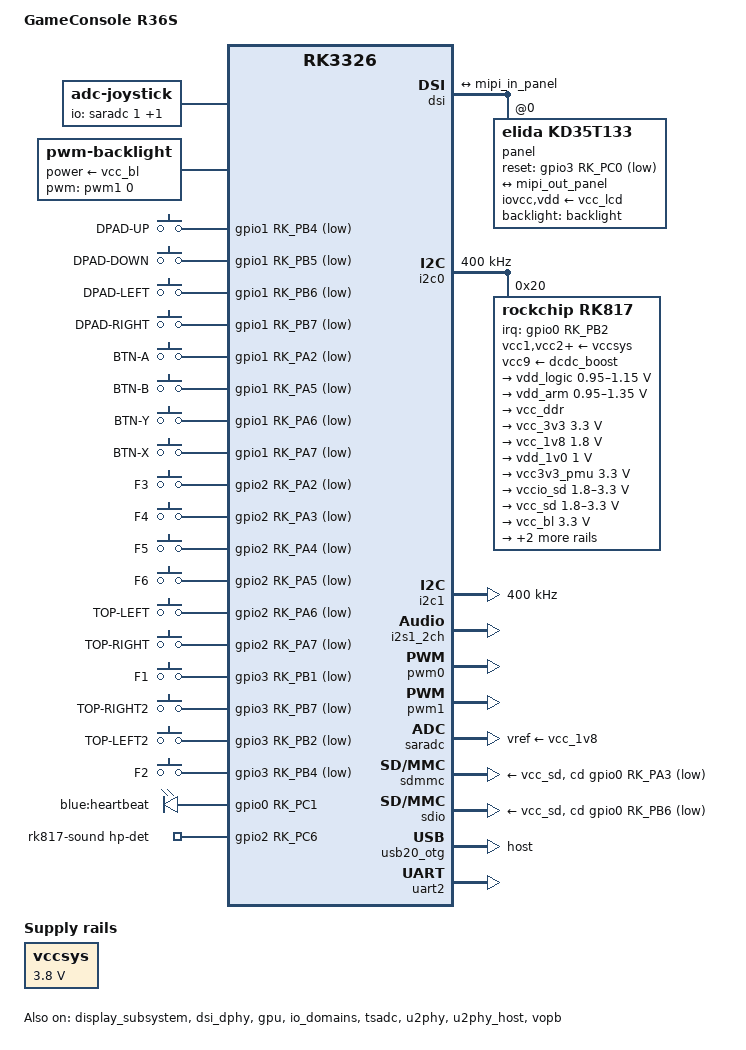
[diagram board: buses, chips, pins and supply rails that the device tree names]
// SPDX-License-Identifier: (GPL-2.0+ OR MIT)
/*
 * Copyright (c) 2019 Hardkernel Co., Ltd
 * Copyright (c) 2020 Theobroma Systems Design und Consulting GmbH
 * Copyright (c) 2024 Ion Agorria
 *
 * R36S is a clone of RG351MP which is based on odroid-goa
 */

/dts-v1/;
#include <dt-bindings/gpio/gpio.h>
#include <dt-bindings/input/input.h>
#include <dt-bindings/pinctrl/rockchip.h>
#include "rk3326.dtsi"

/ {
	model = "GameConsole R36S";
	compatible = "rk3326-gameconsole-r36s", "rockchip,rk3326";

	aliases {
		mmc0 = &sdmmc;
		mmc1 = &sdio;
	};

	chosen {
		stdout-path = "serial2:115200n8";
	};

	adc-joystick {
		compatible = "adc-joystick";
		io-channels = <&saradc 1>,
			      <&saradc 2>;
		#address-cells = <1>;
		#size-cells = <0>;

		axis@0 {
			reg = <0>;
			abs-flat = <10>;
			abs-fuzz = <10>;
			abs-range = <172 772>;
			linux,code = <ABS_X>;
		};

		axis@1 {
			reg = <1>;
			abs-flat = <10>;
			abs-fuzz = <10>;
			abs-range = <278 815>;
			linux,code = <ABS_Y>;
		};
	};

	backlight: backlight {
		compatible = "pwm-backlight";
		power-supply = <&vcc_bl>;
		pwms = <&pwm1 0 25000 0>;
	};

	gpio-keys {
		compatible = "gpio-keys";
		pinctrl-names = "default";
		pinctrl-0 = <&btn_pins>;

		sw1 {
			gpios = <&gpio1 RK_PB4 GPIO_ACTIVE_LOW>;
			label = "DPAD-UP";
			linux,code = <BTN_DPAD_UP>; // 0x220
		};
		sw2 {
			gpios = <&gpio1 RK_PB5 GPIO_ACTIVE_LOW>;
			label = "DPAD-DOWN";
			linux,code = <BTN_DPAD_DOWN>; // 0x221
		};
		sw3 {
			gpios = <&gpio1 RK_PB6 GPIO_ACTIVE_LOW>;
			label = "DPAD-LEFT";
			linux,code = <BTN_DPAD_LEFT>; // 0x222
		};
		sw4 {
			gpios = <&gpio1 RK_PB7 GPIO_ACTIVE_LOW>;
			label = "DPAD-RIGHT";
			linux,code = <BTN_DPAD_RIGHT>; // 0x223
		};
		sw5 {
			gpios = <&gpio1 RK_PA2 GPIO_ACTIVE_LOW>;
			label = "BTN-A";
			linux,code = <BTN_EAST>; // 0x131
		};
		sw6 {
			gpios = <&gpio1 RK_PA5 GPIO_ACTIVE_LOW>;
			label = "BTN-B";
			linux,code = <BTN_SOUTH>; // 0x130
		};
		sw7 {
			gpios = <&gpio1 RK_PA6 GPIO_ACTIVE_LOW>;
			label = "BTN-Y";
			linux,code = <BTN_WEST>; // 0x134
		};
		sw8 {
			gpios = <&gpio1 RK_PA7 GPIO_ACTIVE_LOW>;
			label = "BTN-X";
			linux,code = <BTN_NORTH>; // 0x133
		};
		sw11 {
			gpios = <&gpio2 RK_PA2 GPIO_ACTIVE_LOW>;
			label = "F3";
			linux,code = <BTN_TRIGGER_HAPPY3>; // 0x2c2
		};
		sw12 {
			gpios = <&gpio2 RK_PA3 GPIO_ACTIVE_LOW>;
			label = "F4";
			linux,code = <BTN_TRIGGER_HAPPY4>; // 0x2c3
		};
		sw13 {
			gpios = <&gpio2 RK_PA4 GPIO_ACTIVE_LOW>;
			label = "F5";
			linux,code = <BTN_TRIGGER_HAPPY5>; // 0x2c4
		};
		sw14 {
			gpios = <&gpio2 RK_PA5 GPIO_ACTIVE_LOW>;
			label = "F6";
			linux,code = <BTN_TRIGGER_HAPPY6>; // 0x13c
		};
		sw15 {
			gpios = <&gpio2 RK_PA6 GPIO_ACTIVE_LOW>;
			label = "TOP-LEFT";
			linux,code = <BTN_TL>; // 0x02
		};
		sw16 {
			gpios = <&gpio2 RK_PA7 GPIO_ACTIVE_LOW>;
			label = "TOP-RIGHT";
			linux,code = <BTN_TR>; // 0x05
		};
		sw19 {
			gpios = <&gpio3 RK_PB1 GPIO_ACTIVE_LOW>;
			label = "F1";
			linux,code = <BTN_TRIGGER_HAPPY1>;
		};
		sw20 {
			gpios = <&gpio3 RK_PB7 GPIO_ACTIVE_LOW>;
			label = "TOP-RIGHT2";
			linux,code = <BTN_TR2>;
		};
		sw21 {
			gpios = <&gpio3 RK_PB2 GPIO_ACTIVE_LOW>;
			label = "TOP-LEFT2";
			linux,code = <BTN_TL2>;
		};
		sw22 {
			gpios = <&gpio3 RK_PB4 GPIO_ACTIVE_LOW>;
			label = "F2";
			linux,code = <BTN_TRIGGER_HAPPY2>;
		};
	};

	leds: gpio-leds {
		compatible = "gpio-leds";
		pinctrl-names = "default";
		pinctrl-0 = <&blue_led_pin>;

		blue_led: led-0 {
			label = "blue:heartbeat";
			gpios = <&gpio0 RK_PC1 GPIO_ACTIVE_HIGH>;
			linux,default-trigger = "heartbeat";
		};
	};

	rk817-sound {
		compatible = "simple-audio-card";
		simple-audio-card,name = "Analog";
		simple-audio-card,format = "i2s";
		simple-audio-card,hp-det-gpio = <&gpio2 RK_PC6 GPIO_ACTIVE_HIGH>;
		simple-audio-card,mclk-fs = <256>;
		simple-audio-card,widgets =
			"Microphone", "Mic Jack",
			"Headphone", "Headphones",
			"Speaker", "Speaker";
		simple-audio-card,routing =
			"MICL", "Mic Jack",
			"Headphones", "HPOL",
			"Headphones", "HPOR",
			"Speaker", "SPKO";

		simple-audio-card,codec {
			sound-dai = <&rk817>;
		};

		simple-audio-card,cpu {
			sound-dai = <&i2s1_2ch>;
		};
	};

	vccsys: vccsys {
		compatible = "regulator-fixed";
		regulator-name = "vcc3v8_sys";
		regulator-always-on;
		regulator-min-microvolt = <3800000>;
		regulator-max-microvolt = <3800000>;
	};
};

&cpu0 {
	cpu-supply = <&vdd_arm>;
};

&cpu1 {
	cpu-supply = <&vdd_arm>;
};

&cpu2 {
	cpu-supply = <&vdd_arm>;
};

&cpu3 {
	cpu-supply = <&vdd_arm>;
};

&cru {
	assigned-clocks = <&cru PLL_NPLL>,
		<&cru ACLK_BUS_PRE>, <&cru ACLK_PERI_PRE>,
		<&cru HCLK_BUS_PRE>, <&cru HCLK_PERI_PRE>,
		<&cru PCLK_BUS_PRE>, <&cru SCLK_GPU>,
		<&cru PLL_CPLL>;

	assigned-clock-rates = <1188000000>,
		<200000000>, <200000000>,
		<150000000>, <150000000>,
		<100000000>, <200000000>,
		<17000000>;
};

&display_subsystem {
	status = "okay";
};

&dsi {
	status = "okay";

	ports {
		mipi_out: port@1 {
			reg = <1>;

			mipi_out_panel: endpoint {
				remote-endpoint = <&mipi_in_panel>;
			};
		};
	};

	panel@0 {
		compatible = "elida,kd35t133";
		reg = <0>;
		backlight = <&backlight>;
		iovcc-supply = <&vcc_lcd>;
		reset-gpios = <&gpio3 RK_PC0 GPIO_ACTIVE_LOW>;
		rotation = <270>;
		vdd-supply = <&vcc_lcd>;

		port {
			mipi_in_panel: endpoint {
				remote-endpoint = <&mipi_out_panel>;
			};
		};
	};
};

&dsi_dphy {
	status = "okay";
};

&gpu {
	mali-supply = <&vdd_logic>;
	status = "okay";
};

&i2c0 {
	clock-frequency = <400000>;
	i2c-scl-falling-time-ns = <16>;
	i2c-scl-rising-time-ns = <280>;
	status = "okay";

	rk817: pmic@20 {
		compatible = "rockchip,rk817";
		reg = <0x20>;
		interrupt-parent = <&gpio0>;
		interrupts = <RK_PB2 IRQ_TYPE_LEVEL_LOW>;
		clock-output-names = "rk808-clkout1", "xin32k";
		clock-names = "mclk";
		clocks = <&cru SCLK_I2S1_OUT>;
		pinctrl-names = "default";
		pinctrl-0 = <&pmic_int>, <&i2s1_2ch_mclk>;
		wakeup-source;
		#clock-cells = <1>;
		#sound-dai-cells = <0>;

		vcc1-supply = <&vccsys>;
		vcc2-supply = <&vccsys>;
		vcc3-supply = <&vccsys>;
		vcc4-supply = <&vccsys>;
		vcc5-supply = <&vccsys>;
		vcc6-supply = <&vccsys>;
		vcc7-supply = <&vccsys>;
		vcc8-supply = <&vccsys>;
		vcc9-supply = <&dcdc_boost>;

		regulators {
			vdd_logic: DCDC_REG1 {
				regulator-name = "vdd_logic";
				regulator-min-microvolt = <950000>;
				regulator-max-microvolt = <1150000>;
				regulator-ramp-delay = <6001>;
				regulator-always-on;
				regulator-boot-on;

				regulator-state-mem {
					regulator-on-in-suspend;
					regulator-suspend-microvolt = <950000>;
				};
			};

			vdd_arm: DCDC_REG2 {
				regulator-name = "vdd_arm";
				regulator-min-microvolt = <950000>;
				regulator-max-microvolt = <1350000>;
				regulator-ramp-delay = <6001>;
				regulator-always-on;
				regulator-boot-on;

				regulator-state-mem {
					regulator-off-in-suspend;
					regulator-suspend-microvolt = <950000>;
				};
			};

			vcc_ddr: DCDC_REG3 {
				regulator-name = "vcc_ddr";
				regulator-always-on;
				regulator-boot-on;

				regulator-state-mem {
					regulator-on-in-suspend;
				};
			};

			vcc_3v3: DCDC_REG4 {
				regulator-name = "vcc_3v3";
				regulator-min-microvolt = <3300000>;
				regulator-max-microvolt = <3300000>;
				regulator-always-on;
				regulator-boot-on;

				regulator-state-mem {
					regulator-off-in-suspend;
					regulator-suspend-microvolt = <3300000>;
				};
			};

			vcc_1v8: LDO_REG2 {
				regulator-name = "vcc_1v8";
				regulator-min-microvolt = <1800000>;
				regulator-max-microvolt = <1800000>;
				regulator-always-on;
				regulator-boot-on;

				regulator-state-mem {
					regulator-on-in-suspend;
					regulator-suspend-microvolt = <1800000>;
				};
			};

			vdd_1v0: LDO_REG3 {
				regulator-name = "vdd_1v0";
				regulator-min-microvolt = <1000000>;
				regulator-max-microvolt = <1000000>;
				regulator-always-on;
				regulator-boot-on;

				regulator-state-mem {
					regulator-on-in-suspend;
					regulator-suspend-microvolt = <1000000>;
				};
			};

			vcc3v3_pmu: LDO_REG4 {
				regulator-name = "vcc3v3_pmu";
				regulator-min-microvolt = <3300000>;
				regulator-max-microvolt = <3300000>;
				regulator-always-on;
				regulator-boot-on;

				regulator-state-mem {
					regulator-on-in-suspend;
					regulator-suspend-microvolt = <3300000>;
				};
			};

			vccio_sd: LDO_REG5 {
				regulator-name = "vccio_sd";
				regulator-min-microvolt = <1800000>;
				regulator-max-microvolt = <3300000>;
				regulator-always-on;
				regulator-boot-on;

				regulator-state-mem {
					regulator-on-in-suspend;
					regulator-suspend-microvolt = <1800000>;
				};
			};

			vcc_sd: LDO_REG6 {
				regulator-name = "vcc_sd";
				regulator-min-microvolt = <1800000>;
				regulator-max-microvolt = <3300000>;
				regulator-boot-on;

				regulator-state-mem {
					regulator-on-in-suspend;
					regulator-suspend-microvolt = <3000000>;
				};
			};

			vcc_bl: LDO_REG7 {
				regulator-name = "vcc_bl";
				regulator-min-microvolt = <3300000>;
				regulator-max-microvolt = <3300000>;

				regulator-state-mem {
					regulator-off-in-suspend;
					regulator-suspend-microvolt = <3300000>;
				};
			};

			vcc_lcd: LDO_REG8 {
				regulator-name = "vcc_lcd";
				regulator-min-microvolt = <2800000>;
				regulator-max-microvolt = <2800000>;

				regulator-state-mem {
					regulator-off-in-suspend;
					regulator-suspend-microvolt = <2800000>;
				};
			};

			dcdc_boost: BOOST {
				regulator-name = "boost";
				regulator-min-microvolt = <5000000>;
				regulator-max-microvolt = <5400000>;
				regulator-always-on;
				regulator-boot-on;
			};
		};

		rk817_codec: codec {
			rockchip,mic-in-differential;
		};
	};
};

/* EXT Header(P2): 7(SCL:GPIO0.C2), 8(SDA:GPIO0.C3) */
&i2c1 {
	clock-frequency = <400000>;
	status = "okay";
};

/* MIPI CSI I2C */
&i2c2 {
	status = "disabled";
};

/* I2S 1 Channel Used */
&i2s1_2ch {
	status = "okay";
};

&io_domains {
	/* SDIO I/O Voltage */
	vccio1-supply = <&vccio_sd>;
	/* SDMMC I/O Voltage */
	vccio2-supply = <&vccio_sd>;
	/* CAM I/O Voltage */
	vccio3-supply = <&vcc_3v3>;
	/* LVDS/LCDC I/O Voltage */
	vccio4-supply = <&vcc_3v3>;
	/* I2S I/O Voltage */
	vccio5-supply = <&vcc_3v3>;
	/* eMMC I/O Voltage */
	vccio6-supply = <&vcc_3v3>;
	status = "okay";
};

&pmu_io_domains {
	/* PMU I/O Voltage */
	pmuio1-supply = <&vcc3v3_pmu>;
	/* GPIO0_B/GPIO0_C, Flash */
	pmuio2-supply = <&vcc3v3_pmu>;
	status = "okay";
};

/* Rumble PWM */
&pwm0 {
	status = "okay";
};

/* LCD Backlight PWM */
&pwm1 {
	status = "okay";
};

&saradc {
	vref-supply = <&vcc_1v8>;
	status = "okay";
};

&sdmmc {
	cap-sd-highspeed;
	card-detect-delay = <200>;
	cd-gpios = <&gpio0 RK_PA3 GPIO_ACTIVE_LOW>; /*[> CD GPIO <]*/
	sd-uhs-sdr12;
	sd-uhs-sdr25;
	sd-uhs-sdr50;
	sd-uhs-sdr104;
	vmmc-supply = <&vcc_sd>;
	vqmmc-supply = <&vccio_sd>;
	status = "okay";
};

&sdio {
	cap-sd-highspeed;
	card-detect-delay = <200>;
	cd-gpios = <&gpio0 RK_PB6 GPIO_ACTIVE_LOW>; /*[> CD GPIO <]*/
	sd-uhs-sdr12;
	sd-uhs-sdr25;
	sd-uhs-sdr50;
	sd-uhs-sdr104;
	vmmc-supply = <&vcc_sd>;
	vqmmc-supply = <&vccio_sd>;
	status = "okay";
};

&tsadc {
	status = "okay";
};

&u2phy {
	status = "okay";
};

&u2phy_host {
	status = "okay";
};

&u2phy_otg {
	status = "disabled";
};

&usb20_otg {
	dr_mode = "host";
	status = "okay";
};

&uart2 {
	pinctrl-names = "default";
	pinctrl-0 = <&uart2m1_xfer>;
	status = "okay";
};

&vopb {
	status = "okay";
};

&vopb_mmu {
	status = "okay";
};

&pinctrl {
	pmic {
		/* ODROID-GO2 : PMIC_INT(GPIO0.PB2) */
		pmic_int: pmic_int {
			rockchip,pins =
				<0 RK_PB2 RK_FUNC_GPIO &pcfg_pull_up>,
				<0 RK_PB3 RK_FUNC_GPIO &pcfg_pull_none>;
		};

		/* ODROID-GO2 : PMIC_SLEEP(GPIO0.PA4) */
		soc_slppin_gpio: soc_slppin_gpio {
			rockchip,pins =
				<0 RK_PA4 RK_FUNC_GPIO &pcfg_output_low>;
		};

		soc_slppin_slp: soc_slppin_slp {
			rockchip,pins =
				<0 RK_PA4 RK_FUNC_1 &pcfg_pull_none>;
		};

		soc_slppin_rst: soc_slppin_rst {
			rockchip,pins =
				<0 RK_PA4 RK_FUNC_2 &pcfg_pull_none>;
		};
	};

	leds {
		blue_led_pin: blue-led-pin {
			rockchip,pins = <0 RK_PC1 RK_FUNC_GPIO &pcfg_pull_none>;
		};
	};

	btns {
		btn_pins: btn-pins {
			rockchip,pins = <1 RK_PB4 RK_FUNC_GPIO &pcfg_pull_up>,
					<1 RK_PB5 RK_FUNC_GPIO &pcfg_pull_up>,
					<1 RK_PB6 RK_FUNC_GPIO &pcfg_pull_up>,
					<1 RK_PB7 RK_FUNC_GPIO &pcfg_pull_up>,
					<1 RK_PA2 RK_FUNC_GPIO &pcfg_pull_up>,
					<1 RK_PA5 RK_FUNC_GPIO &pcfg_pull_up>,
					<1 RK_PA6 RK_FUNC_GPIO &pcfg_pull_up>,
					<1 RK_PA7 RK_FUNC_GPIO &pcfg_pull_up>,

					<2 RK_PA0 RK_FUNC_GPIO &pcfg_pull_up>,
					<2 RK_PA1 RK_FUNC_GPIO &pcfg_pull_up>,
					<2 RK_PA2 RK_FUNC_GPIO &pcfg_pull_up>,
					<2 RK_PA3 RK_FUNC_GPIO &pcfg_pull_up>,
					<2 RK_PA4 RK_FUNC_GPIO &pcfg_pull_up>,
					<2 RK_PA5 RK_FUNC_GPIO &pcfg_pull_up>,
					<2 RK_PA6 RK_FUNC_GPIO &pcfg_pull_up>,
					<2 RK_PA7 RK_FUNC_GPIO &pcfg_pull_up>,
					<3 RK_PB1 RK_FUNC_GPIO &pcfg_pull_up>,
					<3 RK_PB2 RK_FUNC_GPIO &pcfg_pull_up>,
					<3 RK_PB4 RK_FUNC_GPIO &pcfg_pull_up>,
					<3 RK_PB7 RK_FUNC_GPIO &pcfg_pull_up>;
		};
	};
};


